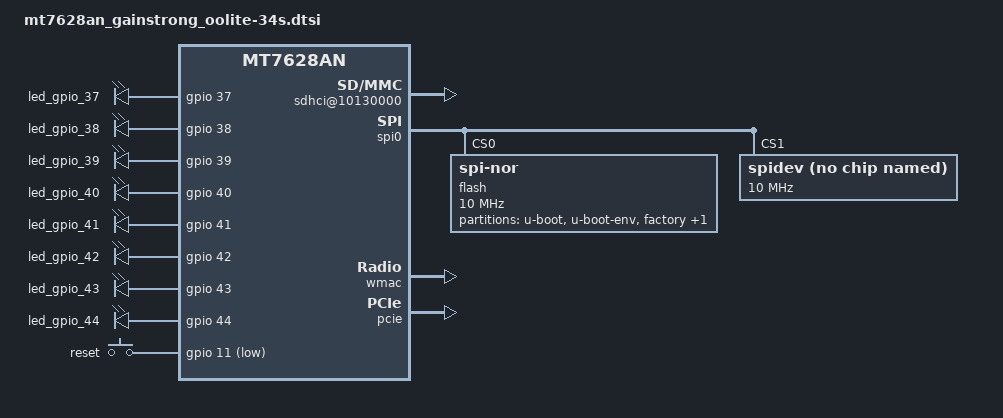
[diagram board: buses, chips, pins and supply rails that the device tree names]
// SPDX-License-Identifier: GPL-2.0-or-later OR MIT

#include "mt7628an.dtsi"
#include <dt-bindings/gpio/gpio.h>
#include <dt-bindings/input/input.h>

/ {
	aliases {
		led-boot = &led_system;
		led-failsafe = &led_system;
		led-upgrade = &led_system;
	};

	leds {
		compatible = "gpio-leds";

		led_system: led_gpio_37 {
			label = "led_gpio_37";
			gpios = <&gpio 37 GPIO_ACTIVE_HIGH>;
		};

		led_gpio_38 {
			label = "led_gpio_38";
			gpios = <&gpio 38 GPIO_ACTIVE_HIGH>;
		};

		led_gpio_39 {
			label = "led_gpio_39";
			gpios = <&gpio 39 GPIO_ACTIVE_HIGH>;
		};

		led_gpio_40 {
			label = "led_gpio_40";
			gpios = <&gpio 40 GPIO_ACTIVE_HIGH>;
		};

		led_gpio_41 {
			label = "led_gpio_41";
			gpios = <&gpio 41 GPIO_ACTIVE_HIGH>;
		};

		led_gpio_42 {
			label = "led_gpio_42";
			gpios = <&gpio 42 GPIO_ACTIVE_HIGH>;
		};

		led_gpio_43 {
			label = "led_gpio_43";
			gpios = <&gpio 43 GPIO_ACTIVE_HIGH>;
		};

		led_gpio_44 {
			label = "led_gpio_44";
			gpios = <&gpio 44 GPIO_ACTIVE_HIGH>;
		};
	};

	keys {
		compatible = "gpio-keys";

		reset {
			label = "reset";
			gpios = <&gpio 11 GPIO_ACTIVE_LOW>;
			linux,code = <KEY_RESTART>;
		};
	};

	sdhci@10130000 {
		status = "okay";
	};
};

&state_default {
	gpio {
		groups = "gpio", "i2c", "i2s", "uart1", "uart2", "pwm0", "pwm1", "refclk", "p0led_an", "p1led_an", "p2led_an", "p3led_an", "p4led_an", "wled_an";
		function = "gpio";
	};
};

&spi0 {
	compatible = "ralink,mt76x8-spi";

	status = "okay";
	pinctrl-names = "default";
	pinctrl-0 = <&spi_pins>, <&spi_cs1_pins>;

	flash@0 {
		compatible = "jedec,spi-nor";
		reg = <0>;
		spi-max-frequency = <10000000>;

		partitions {
			compatible = "fixed-partitions";
			#address-cells = <1>;
			#size-cells = <1>;

			partition@0 {
				label = "u-boot";
				reg = <0x0 0x30000>;
				read-only;
			};

			partition@30000 {
				label = "u-boot-env";
				reg = <0x30000 0x10000>;
				read-only;
			};

			factory: partition@40000 {
				label = "factory";
				reg = <0x40000 0x10000>;
				read-only;
			};

			firmware: partition@50000 {
				compatible = "denx,uimage";
				label = "firmware";
			};
		};
	};

	spidev@1 {
		compatible = "linux,spidev";
		reg = <1>;
		spi-max-frequency = <10000000>;
	};
};

&ethernet {
	mtd-mac-address = <&factory 0x28>;
};

&wmac {
	status = "okay";
};

&pcie {
	status = "okay";
};
